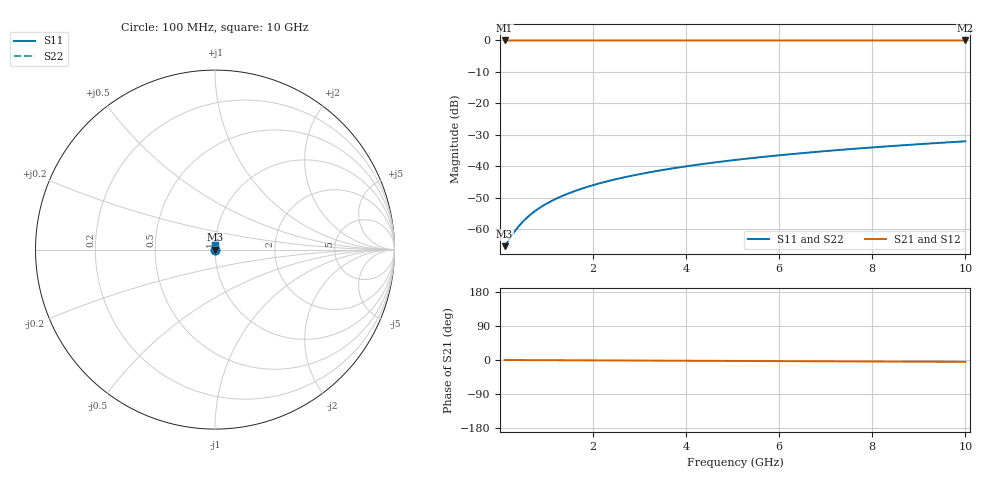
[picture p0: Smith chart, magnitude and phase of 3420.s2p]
# Hz S RI R 50.00
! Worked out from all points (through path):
!   100 points, 100 MHz to 10 GHz, reference 50 ohm
!   highest |S21| = 0.00 dB at 100 MHz (marker M1); lowest = 0.0 dB at 10 GHz (marker M2)
!   lowest |S11| = -65.5 dB at 100 MHz (marker M3), VSWR 1.00, Z = 50 + j0.0248 ohm
!   |S11| at or under -10 dB: start of sweep to end of sweep
!   |S22| runs from -65.5 to -32.1 dB; largest |S21 - S12| = 0
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1e8  0.000472 0.000248  0.9995 -0.000858  0.9995 -0.000858  0.000472 0.000248
3e8  0.000479 0.000743  0.9995 -0.00257  0.9995 -0.00257  0.000479 0.000743
4e8  0.000482 0.000991  0.9995 -0.00343  0.9995 -0.00343  0.000482 0.000991
5e8  0.000485 0.00124  0.9995 -0.00429  0.9995 -0.00429  0.000485 0.00124
6e8  0.000489 0.00149  0.9995 -0.00515  0.9995 -0.00515  0.000489 0.00149
7e8  0.000493 0.00173  0.9995 -0.006  0.9995 -0.006  0.000493 0.00173
8e8  0.000497 0.00198  0.9995 -0.00686  0.9995 -0.00686  0.000497 0.00198
9e8  0.000501 0.00223  0.9995 -0.00772  0.9995 -0.00772  0.000501 0.00223
1e9  0.000506 0.00248  0.9995 -0.00858  0.9995 -0.00858  0.000506 0.00248
1.2e9  0.000517 0.00297  0.9994 -0.0103  0.9994 -0.0103  0.000517 0.00297
1.5e9  0.000536 0.00371  0.9994 -0.0129  0.9994 -0.0129  0.000536 0.00371
1.8e9  0.000559 0.00446  0.9994 -0.0154  0.9994 -0.0154  0.000559 0.00446
2.1e9  0.000585 0.0052  0.9993 -0.018  0.9993 -0.018  0.000585 0.0052
2.5e9  0.000626 0.00619  0.9992 -0.0215  0.9992 -0.0215  0.000626 0.00619
2.9e9  0.000673 0.00718  0.9992 -0.0249  0.9992 -0.0249  0.000673 0.00718
3.4e9  0.000742 0.00842  0.999 -0.0292  0.999 -0.0292  0.000742 0.00842
4.2e9  0.000873 0.0104  0.9988 -0.0361  0.9988 -0.0361  0.000873 0.0104
5.1e9  0.00105 0.0126  0.9984 -0.0438  0.9984 -0.0438  0.00105 0.0126
5.9e9  0.00124 0.0146  0.9981 -0.0507  0.9981 -0.0507  0.00124 0.0146
6.7e9  0.00146 0.0166  0.9977 -0.0576  0.9977 -0.0576  0.00146 0.0166
8.4e9  0.00201 0.0208  0.9966 -0.0722  0.9966 -0.0722  0.00201 0.0208
1e10  0.00265 0.0247  0.9954 -0.086  0.9954 -0.086  0.00265 0.0247
